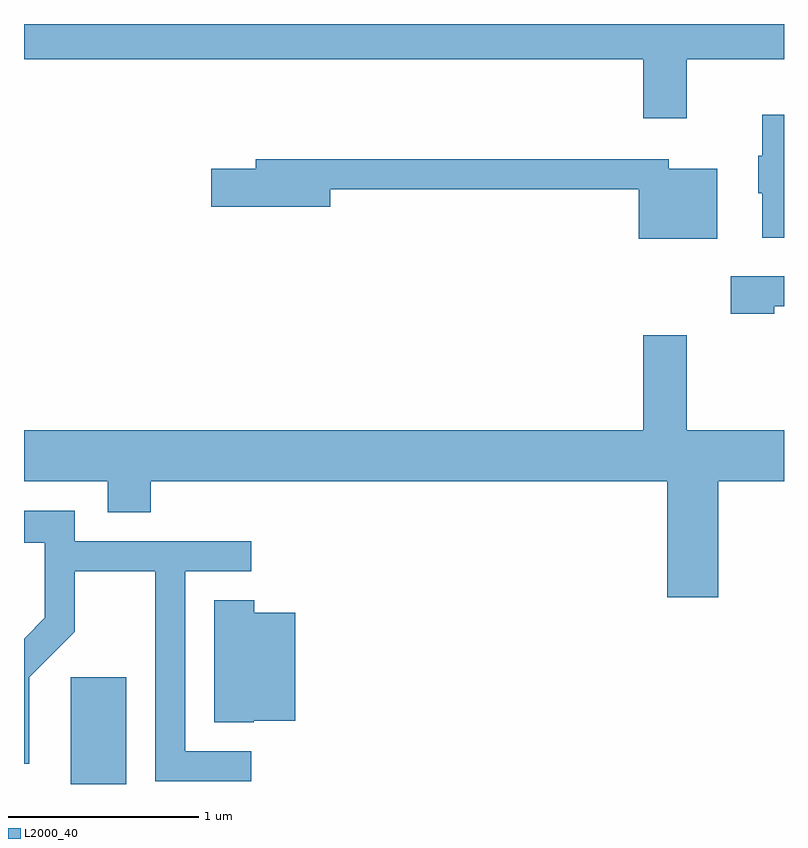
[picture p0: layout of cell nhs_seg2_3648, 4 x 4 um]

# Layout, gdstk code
import gdstk
lib = gdstk.Library(unit=1e-6, precision=1e-09)
def R(c, l, rs):  # rectangles x0, y0, x1, y1
    for r in rs: c.add(gdstk.rectangle(r[:2], r[2:], *l))
def P(c, l, *ps):  # polygons
    for p in ps: c.add(gdstk.Polygon(p, *l))
L2000_40 = (2000, 40)

nhs_seg2_3648 = lib.new_cell('nhs_seg2_3648')
R(nhs_seg2_3648, L2000_40, [(291.856,1077.802,292.149,1078.364)])
P(nhs_seg2_3648, L2000_40, [(295.099,1081.616),(295.611,1081.616),(295.611,1081.802),(291.611,1081.802),(291.611,1081.616),(294.871,1081.616),(294.871,1081.306),(295.099,1081.306)],
  [(295.611,1081.324),(295.496,1081.324),(295.496,1081.109),(295.476,1081.109),(295.476,1080.911),(295.496,1080.911),(295.496,1080.676),(295.611,1080.676)],
  [(295.259,1081.039),(295.004,1081.039),(295.004,1081.089),(292.831,1081.089),(292.831,1081.039),(292.596,1081.039),(292.596,1080.841),(293.224,1080.841),(293.224,1080.931),(294.846,1080.931),(294.846,1080.671),(295.259,1080.671)],
  [(295.559,1080.316),(295.611,1080.316),(295.611,1080.474),(295.331,1080.474),(295.331,1080.276),(295.559,1080.276)],
  [(295.264,1079.396),(295.611,1079.396),(295.611,1079.664),(295.099,1079.664),(295.099,1080.164),(294.871,1080.164),(294.871,1079.664),(291.611,1079.664),(291.611,1079.396),(292.051,1079.396),(292.051,1079.231),(292.279,1079.231),(292.279,1079.396),(294.996,1079.396),(294.996,1078.786),(295.264,1078.786)],
  [(292.808,1077.974),(292.459,1077.974),(292.459,1078.921),(292.808,1078.921),(292.808,1079.079),(291.879,1079.079),(291.879,1079.239),(291.611,1079.239),(291.611,1079.071),(291.721,1079.071),(291.721,1078.677),(291.611,1078.567),(291.611,1077.908),(291.639,1077.908),(291.639,1078.364),(291.879,1078.604),(291.879,1078.921),(292.301,1078.921),(292.301,1077.816),(292.808,1077.816)],
  [(292.82,1078.136),(293.039,1078.136),(293.039,1078.704),(292.824,1078.704),(292.824,1078.769),(292.611,1078.769),(292.611,1078.126),(292.82,1078.126)])

lib.write_gds('nhs_seg2_3648.gds')
